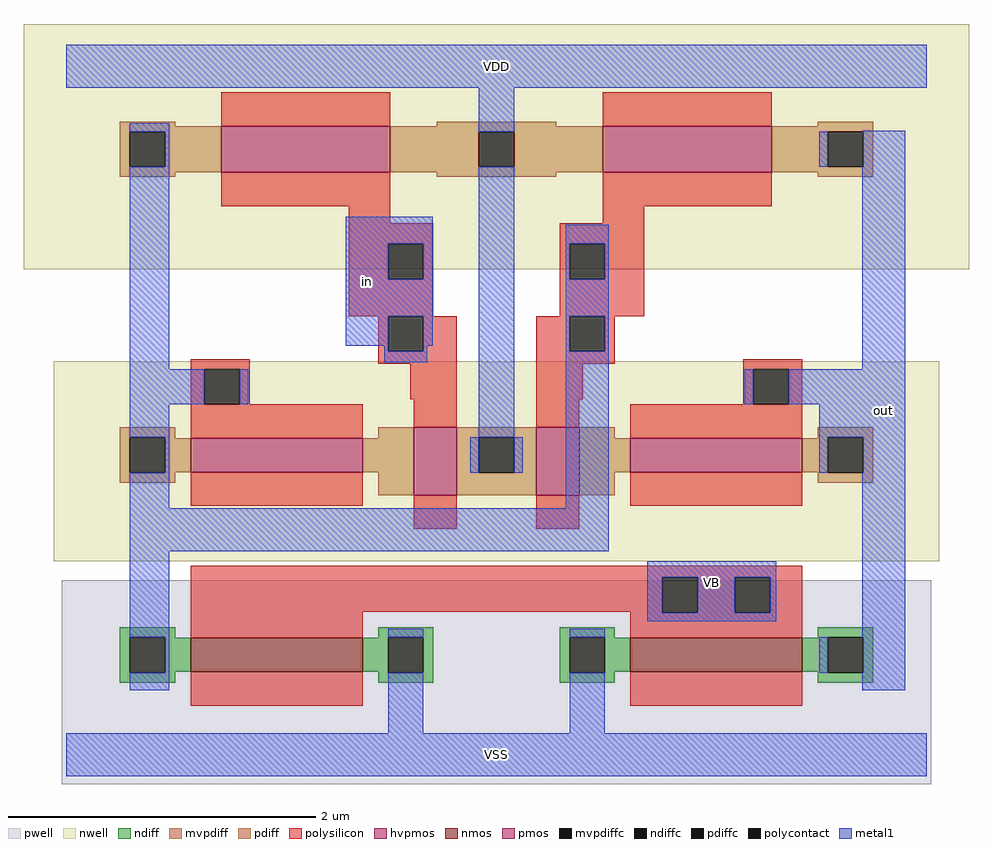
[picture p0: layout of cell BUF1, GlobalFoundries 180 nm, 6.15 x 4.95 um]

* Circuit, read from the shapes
.subckt BUF1 VSS VDD out VB in
XM1 VSS VB n1 VSUBS nfet_03v3 w=0.22u l=1.12u
XM2 out VB VSS VSUBS nfet_03v3 w=0.22u l=1.12u
XM3 n2 n1 n1 n3 pfet_03v3 w=0.22u l=1.12u
XM4 VDD in n1 n4 pfet_06v0 w=0.3u l=1.1u
XM5 VDD in n2 n3 pfet_03v3 w=0.44u l=0.28u
XM6 n5 n1 VDD n3 pfet_03v3 w=0.44u l=0.28u
XM7 out n1 VDD n4 pfet_06v0 w=0.3u l=1.1u
XM8 out out n5 n3 pfet_03v3 w=0.22u l=1.12u
.ends

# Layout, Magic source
magic
tech gf180mcuD
magscale 1 10
<< nwell >>
rect -55 632 1175 951
rect -16 252 1136 512
<< pwell >>
rect -6 -38 1126 227
<< nmos >>
rect 162 108 386 152
rect 734 108 958 152
<< pmos >>
rect 162 368 386 412
rect 452 338 508 426
rect 612 338 668 426
rect 734 368 958 412
<< hvpmos >>
rect 202 758 422 818
rect 698 758 918 818
<< ndiff >>
rect 70 153 142 166
rect 70 107 83 153
rect 129 152 142 153
rect 406 153 478 166
rect 406 152 419 153
rect 129 108 162 152
rect 386 108 419 152
rect 129 107 142 108
rect 70 94 142 107
rect 406 107 419 108
rect 465 107 478 153
rect 406 94 478 107
rect 642 153 714 166
rect 642 107 655 153
rect 701 152 714 153
rect 978 153 1050 166
rect 978 152 991 153
rect 701 108 734 152
rect 958 108 991 152
rect 701 107 714 108
rect 642 94 714 107
rect 978 107 991 108
rect 1037 107 1050 153
rect 978 94 1050 107
<< pdiff >>
rect 70 413 142 426
rect 70 367 83 413
rect 129 412 142 413
rect 406 412 452 426
rect 129 368 162 412
rect 386 368 452 412
rect 129 367 142 368
rect 70 354 142 367
rect 406 338 452 368
rect 508 413 612 426
rect 508 367 537 413
rect 583 367 612 413
rect 508 338 612 367
rect 668 412 714 426
rect 978 413 1050 426
rect 978 412 991 413
rect 668 368 734 412
rect 958 368 991 412
rect 668 338 714 368
rect 978 367 991 368
rect 1037 367 1050 413
rect 978 354 1050 367
<< mvpdiff >>
rect 70 818 142 824
rect 482 818 638 824
rect 978 818 1050 824
rect 70 811 202 818
rect 70 765 83 811
rect 129 765 202 811
rect 70 758 202 765
rect 422 811 698 818
rect 422 765 537 811
rect 583 765 698 811
rect 422 758 698 765
rect 918 811 1050 818
rect 918 765 991 811
rect 1037 765 1050 811
rect 918 758 1050 765
rect 70 752 142 758
rect 482 752 638 758
rect 978 752 1050 758
<< ndiffc >>
rect 83 107 129 153
rect 419 107 465 153
rect 655 107 701 153
rect 991 107 1037 153
<< pdiffc >>
rect 83 367 129 413
rect 537 367 583 413
rect 991 367 1037 413
<< mvpdiffc >>
rect 83 765 129 811
rect 537 765 583 811
rect 991 765 1037 811
<< polysilicon >>
rect 202 818 422 862
rect 698 818 918 862
rect 202 714 422 758
rect 368 692 422 714
rect 698 714 918 758
rect 698 692 752 714
rect 368 665 478 692
rect 368 619 419 665
rect 465 619 478 665
rect 368 571 478 619
rect 642 665 752 692
rect 642 619 655 665
rect 701 619 752 665
rect 642 571 752 619
rect 406 525 419 571
rect 465 525 508 571
rect 162 502 239 515
rect 406 509 508 525
rect 162 456 180 502
rect 226 456 239 502
rect 448 463 508 509
rect 162 412 386 456
rect 452 426 508 463
rect 612 525 655 571
rect 701 525 714 571
rect 612 509 714 525
rect 612 463 672 509
rect 881 502 958 515
rect 612 426 668 463
rect 881 456 894 502
rect 940 456 958 502
rect 162 324 386 368
rect 734 412 958 456
rect 452 294 508 338
rect 612 294 668 338
rect 734 324 958 368
rect 162 231 958 246
rect 162 186 776 231
rect 162 152 386 186
rect 734 185 776 186
rect 822 185 870 231
rect 916 185 958 231
rect 162 64 386 108
rect 734 152 958 185
rect 734 64 958 108
<< polycontact >>
rect 419 619 465 665
rect 655 619 701 665
rect 419 525 465 571
rect 180 456 226 502
rect 655 525 701 571
rect 894 456 940 502
rect 776 185 822 231
rect 870 185 916 231
<< metal1 >>
rect 0 868 1120 924
rect 83 811 134 822
rect 129 765 134 811
rect 83 502 134 765
rect 537 811 583 868
rect 1036 811 1092 812
rect 980 765 991 811
rect 1037 765 1092 811
rect 364 665 477 700
rect 364 619 419 665
rect 465 619 477 665
rect 364 571 477 619
rect 364 532 419 571
rect 414 525 419 532
rect 465 532 477 571
rect 465 525 470 532
rect 414 511 470 525
rect 83 456 180 502
rect 226 456 237 502
rect 83 413 134 456
rect 537 413 583 765
rect 650 665 706 690
rect 650 619 655 665
rect 701 619 706 665
rect 650 571 706 619
rect 650 525 655 571
rect 701 525 706 571
rect 129 367 134 413
rect 526 367 537 413
rect 583 367 594 413
rect 83 321 134 367
rect 650 321 706 525
rect 1036 502 1092 765
rect 883 456 894 502
rect 940 456 1092 502
rect 980 413 1092 456
rect 980 367 991 413
rect 1037 367 1092 413
rect 83 265 706 321
rect 83 153 134 265
rect 756 231 924 252
rect 756 185 776 231
rect 822 185 870 231
rect 916 185 924 231
rect 756 174 924 185
rect 129 107 134 153
rect 83 84 134 107
rect 419 153 465 164
rect 419 28 465 107
rect 655 153 701 164
rect 1036 153 1092 367
rect 980 107 991 153
rect 1037 107 1092 153
rect 655 28 701 107
rect 1036 84 1092 107
rect 0 -28 1120 28
<< labels >>
rlabel metal1 0 -28 1120 28 0 VSS
port 1 nsew ground bidirectional
rlabel metal1 0 868 1120 924 0 VDD
port 2 nsew power bidirectional
rlabel metal1 1036 84 1092 812 0 out
port 3 nsew signal output
rlabel metal1 812 196 868 252 0 VB
port 4 nsew signal input
rlabel metal1 364 532 420 700 0 in
port 5 nsew signal input
<< properties >>
string fixed_BBOX 0 0 1120 896
string LEFclass core
string LEFsite site056um
<< end >>
